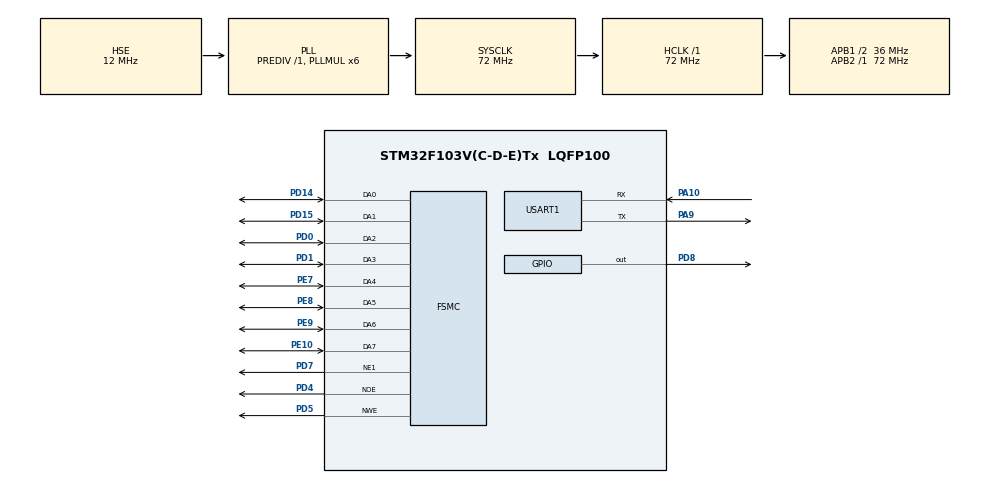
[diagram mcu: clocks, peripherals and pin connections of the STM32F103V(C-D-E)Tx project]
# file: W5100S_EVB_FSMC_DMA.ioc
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Dma.MEMTOMEM.0.Direction=DMA_MEMORY_TO_MEMORY
Dma.MEMTOMEM.0.Instance=DMA1_Channel4
Dma.MEMTOMEM.0.MemDataAlignment=DMA_MDATAALIGN_BYTE
Dma.MEMTOMEM.0.MemInc=DMA_MINC_ENABLE
Dma.MEMTOMEM.0.Mode=DMA_NORMAL
Dma.MEMTOMEM.0.PeriphDataAlignment=DMA_PDATAALIGN_BYTE
Dma.MEMTOMEM.0.PeriphInc=DMA_PINC_DISABLE
Dma.MEMTOMEM.0.Priority=DMA_PRIORITY_HIGH
Dma.MEMTOMEM.1.Direction=DMA_MEMORY_TO_MEMORY
Dma.MEMTOMEM.1.Instance=DMA1_Channel5
Dma.MEMTOMEM.1.MemDataAlignment=DMA_MDATAALIGN_BYTE
Dma.MEMTOMEM.1.MemInc=DMA_MINC_DISABLE
Dma.MEMTOMEM.1.Mode=DMA_NORMAL
Dma.MEMTOMEM.1.PeriphDataAlignment=DMA_PDATAALIGN_BYTE
Dma.MEMTOMEM.1.PeriphInc=DMA_PINC_ENABLE
Dma.MEMTOMEM.1.Priority=DMA_PRIORITY_HIGH
Dma.Request0=MEMTOMEM
Dma.Request1=MEMTOMEM
FSMC.AddressHoldTime1=0x01
FSMC.AddressSetupTime1=0x03
FSMC.BusTurnAroundDuration1=0
FSMC.DataSetupTime1=0x08
FSMC.WriteOperation1=FSMC_WRITE_OPERATION_ENABLE
Mcu.Family=STM32F1
Mcu.Name=STM32F103V(C-D-E)Tx
Mcu.Package=LQFP100
NVIC.DMA1_Channel4_IRQn=true\:0\:0\:false\:false\:true\:true\:true\:true
NVIC.DMA1_Channel5_IRQn=true\:0\:0\:false\:false\:true\:true\:true\:true
NVIC.FLASH_IRQn=true\:0\:0\:false\:false\:true\:true\:true\:true
NVIC.PriorityGroup=NVIC_PRIORITYGROUP_4
NVIC.TIM2_IRQn=true\:0\:0\:false\:false\:true\:true\:true\:true
NVIC.USART1_IRQn=true\:0\:0\:false\:false\:true\:true\:true\:true
OSC_IN.Mode=HSE-External-Oscillator
OSC_IN.Signal=RCC_OSC_IN
OSC_OUT.Mode=HSE-External-Oscillator
OSC_OUT.Signal=RCC_OSC_OUT
PA10.Mode=Asynchronous
PA10.Signal=USART1_RX
PA9.Mode=Asynchronous
PA9.Signal=USART1_TX
PB7.Signal=FSMC_NL
PD0.Mode=8b-da1
PD0.Signal=FSMC_DA2
PD1.Mode=8b-da1
PD1.Signal=FSMC_DA3
PD14.Mode=8b-da1
PD14.Signal=FSMC_DA0
PD15.Mode=8b-da1
PD15.Signal=FSMC_DA1
PD4.Mode=MuxedPsram1
PD4.Signal=FSMC_NOE
PD5.Mode=MuxedPsram1
PD5.Signal=FSMC_NWE
PD7.Mode=NorPsramChipSelect1_1
PD7.Signal=FSMC_NE1
PD8.Signal=GPIO_Output
PE10.Mode=8b-da1
PE10.Signal=FSMC_DA7
PE7.Mode=8b-da1
PE7.Signal=FSMC_DA4
PE8.Mode=8b-da1
PE8.Signal=FSMC_DA5
PE9.Mode=8b-da1
PE9.Signal=FSMC_DA6
ProjectManager.HeapSize=0x200
ProjectManager.StackSize=0x400
ProjectManager.TargetToolchain=STM32CubeIDE
RCC.AHBFreq_Value=72000000
RCC.APB1CLKDivider=RCC_HCLK_DIV2
RCC.APB1Freq_Value=36000000
RCC.APB1TimFreq_Value=72000000
RCC.APB2Freq_Value=72000000
RCC.APB2TimFreq_Value=72000000
RCC.HCLKFreq_Value=72000000
RCC.HSE_VALUE=12000000
RCC.PLLMUL=RCC_PLL_MUL6
RCC.PLLSourceVirtual=RCC_PLLSOURCE_HSE
RCC.SYSCLKFreq_VALUE=72000000
RCC.SYSCLKSource=RCC_SYSCLKSOURCE_PLLCLK
RCC.USBFreq_Value=72000000
SH.FSMC_NL.0=FSMC_NL
TIM2.AutoReloadPreload=TIM_AUTORELOAD_PRELOAD_ENABLE
TIM2.Period=6999
TIM2.Prescaler=1000
USART1.VirtualMode=VM_ASYNC
VP_TIM2_VS_ClockSourceINT.Mode=Internal
board=custom

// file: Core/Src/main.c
/* USER CODE BEGIN Header */
/**
  ******************************************************************************
  * @file           : main.c
  * @brief          : Main program body
  ******************************************************************************
  * @attention
  *
  * Copyright (c) 2022 STMicroelectronics.
  * All rights reserved.
  *
  * This software is licensed under terms that can be found in the LICENSE file
  * in the root directory of this software component.
  * If no LICENSE file comes with this software, it is provided AS-IS.
  *
  ******************************************************************************
  */
/* USER CODE END Header */
#include "main.h"

/* USER CODE BEGIN Includes */
#include <stdio.h>
#include "Application/loopback/loopback.h"
#include "socket.h"
#include "Internet/DHCP/dhcp.h"
#include "wizchip_conf.h"
#include "W5100S/w5100s.h"

/* USER CODE END Includes */

/* USER CODE BEGIN PD */

/* DMA */
#if 1
#define USE_DMA
#endif

#if 0
#define BUS_DMA_INT
#else
#define BUS_DMA_POL
#endif

/* CHIP SETTING */
#define RESET_W5100S_GPIO_Port	GPIOD
#define RESET_W5100S_Pin		GPIO_PIN_8

/* ETH */
#define ETH_MAX_BUF_SIZE		2048

#define SOCKET_DHCP 3

/* USER CODE END PD */

TIM_HandleTypeDef htim2;

UART_HandleTypeDef huart1;

DMA_HandleTypeDef hdma_memtomem_dma1_channel4;
DMA_HandleTypeDef hdma_memtomem_dma1_channel5;
SRAM_HandleTypeDef hsram1;

/* USER CODE BEGIN PV */

/* NET */
wiz_NetInfo gWIZNETINFO = {
		.mac = {0x00, 0x08, 0xdc, 0x6f, 0x00, 0x8a},
		.ip = {192, 168, 11, 109},
		.sn = {255, 255, 255, 0},
		.gw = {192, 168, 11, 1},
		.dns = {8, 8, 8, 8},
		.dhcp = NETINFO_DHCP
};

uint8_t ethBuf0[ETH_MAX_BUF_SIZE];
uint8_t ethBuf1[ETH_MAX_BUF_SIZE];
uint8_t ethBuf2[ETH_MAX_BUF_SIZE];
uint8_t ethBuf3[ETH_MAX_BUF_SIZE];

uint8_t dma_ch4_comp = 0;
uint8_t dma_ch5_comp = 0;

/* USER CODE END PV */

void SystemClock_Config(void);
static void MX_GPIO_Init(void);
static void MX_DMA_Init(void);
static void MX_USART1_UART_Init(void);
static void MX_FSMC_Init(void);
static void MX_TIM2_Init(void);
/* USER CODE BEGIN PFP */
void print_network_information();
void HAL_TIM_PeriodElapsedCallback(TIM_HandleTypeDef *htim);
static void wizchip_dhcp_assign(void);
static void wizchip_dhcp_conflict(void);
void wizchip_dhcp_init(void);

void busDmaWriteByte(uint32_t addr, iodata_t data);
iodata_t busDmaReadByte(uint32_t addr);
void busDmaWriteBurst(uint32_t addr, uint8_t* pBuf ,uint32_t len,uint8_t addr_inc);
void busDmaReadBurst(uint32_t addr,uint8_t* pBuf, uint32_t len,uint8_t addr_inc);
void XferCpltCallback_ch4(DMA_HandleTypeDef *hdma);
void XferCpltCallback_ch5(DMA_HandleTypeDef *hdma);

void wizchip_reset();
void wizchip_check(void);
void wizchip_initialize(void);

/* USER CODE END PFP */

/* USER CODE BEGIN 0 */

/* USER CODE END PFP */

/* Private user code ---------------------------------------------------------*/
/* USER CODE BEGIN 0 */

/* USER CODE END 0 */

int main(void)
{
  /* USER CODE BEGIN 1 */
  uint8_t svr_ipv4[4] = {192, 168, 177, 235};
  /* USER CODE END 1 */

  /* MCU Configuration--------------------------------------------------------*/

  /* Reset of all peripherals, Initializes the Flash interface and the Systick. */
  HAL_Init();

  /* Configure the system clock */
  SystemClock_Config();

  /* Initialize all configured peripherals */
  MX_GPIO_Init();
  MX_DMA_Init();
  MX_USART1_UART_Init();
  MX_FSMC_Init();
  MX_TIM2_Init();
  /* USER CODE BEGIN 2 */

  printf("\r\n");
  printf("===========================================================\r\n");
  printf("Compiled @ %s %s\r\n", __DATE__, __TIME__);
  printf("W5100S-EVB FSMC\r\n");
  printf("System start (%ld Hz)\r\n", HAL_RCC_GetSysClockFreq());
  printf("===========================================================\r\n");

  HAL_TIM_Base_Start_IT(&htim2);

#ifdef USE_DMA
  reg_wizchip_bus_cbfunc(busDmaReadByte, busDmaWriteByte);
  reg_wizchip_busbuf_cbfunc(busDmaReadBurst, busDmaWriteBurst);
#else
  reg_wizchip_bus_cbfunc(0, 0);
  reg_wizchip_busbuf_cbfunc(0, 0);
#endif

  wizchip_initialize();

  wizchip_setnetinfo(&gWIZNETINFO);

  printf("Network Information\r\n");
  print_network_information();

  if (gWIZNETINFO.dhcp == NETINFO_DHCP) // DHCP
  {
    printf("DHCP init()\r\n");
	  wizchip_dhcp_init();

    printf("DHCP run()\r\n");
	  while (DHCP_run() != DHCP_IP_LEASED)
	      wiz_delay_ms(1000);
  }
  else // static
  {
	  ctlnetwork(CN_SET_NETINFO, &gWIZNETINFO);
	  printf("\r\n----------STATIC Net Information--------------\r\n");
    print_network_information();
  }

  /* USER CODE END 2 */

  /* Infinite loop */
  /* USER CODE BEGIN WHILE */
  while (1)
  {
#if 1
	  loopback_udps(0, ethBuf0, 50000);
#endif

#if 0
	  loopback_tcpc(1, ethBuf1, svr_ipv4, 50001);
#endif

#if 1
	  loopback_tcps(2, ethBuf2, 50002);
#endif

	  /* Assigned IP through DHCP */
    if (gWIZNETINFO.dhcp == NETINFO_DHCP)
    {
		  DHCP_run();
    }

    /* USER CODE END WHILE */

  }
}

void SystemClock_Config(void)
{
  RCC_OscInitTypeDef RCC_OscInitStruct = {0};
  RCC_ClkInitTypeDef RCC_ClkInitStruct = {0};

  /** Initializes the RCC Oscillators according to the specified parameters
  * in the RCC_OscInitTypeDef structure.
  */
  RCC_OscInitStruct.OscillatorType = RCC_OSCILLATORTYPE_HSE;
  RCC_OscInitStruct.HSEState = RCC_HSE_ON;
  RCC_OscInitStruct.HSEPredivValue = RCC_HSE_PREDIV_DIV1;
  RCC_OscInitStruct.HSIState = RCC_HSI_ON;
  RCC_OscInitStruct.PLL.PLLState = RCC_PLL_ON;
  RCC_OscInitStruct.PLL.PLLSource = RCC_PLLSOURCE_HSE;
  RCC_OscInitStruct.PLL.PLLMUL = RCC_PLL_MUL6;
  if (HAL_RCC_OscConfig(&RCC_OscInitStruct) != HAL_OK)
  {
    Error_Handler();
  }

  /** Initializes the CPU, AHB and APB buses clocks
  */
  RCC_ClkInitStruct.ClockType = RCC_CLOCKTYPE_HCLK|RCC_CLOCKTYPE_SYSCLK
                              |RCC_CLOCKTYPE_PCLK1|RCC_CLOCKTYPE_PCLK2;
  RCC_ClkInitStruct.SYSCLKSource = RCC_SYSCLKSOURCE_PLLCLK;
  RCC_ClkInitStruct.AHBCLKDivider = RCC_SYSCLK_DIV1;
  RCC_ClkInitStruct.APB1CLKDivider = RCC_HCLK_DIV2;
  RCC_ClkInitStruct.APB2CLKDivider = RCC_HCLK_DIV1;

  if (HAL_RCC_ClockConfig(&RCC_ClkInitStruct, FLASH_LATENCY_2) != HAL_OK)
  {
    Error_Handler();
  }
}

static void MX_TIM2_Init(void)
{

  TIM_ClockConfigTypeDef sClockSourceConfig = {0};
  TIM_MasterConfigTypeDef sMasterConfig = {0};

  htim2.Instance = TIM2;
  htim2.Init.Prescaler = 1000;
  htim2.Init.CounterMode = TIM_COUNTERMODE_UP;
  htim2.Init.Period = 6999;
  htim2.Init.ClockDivision = TIM_CLOCKDIVISION_DIV1;
  htim2.Init.AutoReloadPreload = TIM_AUTORELOAD_PRELOAD_ENABLE;
  if (HAL_TIM_Base_Init(&htim2) != HAL_OK)
  {
    Error_Handler();
  }
  sClockSourceConfig.ClockSource = TIM_CLOCKSOURCE_INTERNAL;
  if (HAL_TIM_ConfigClockSource(&htim2, &sClockSourceConfig) != HAL_OK)
  {
    Error_Handler();
  }
  sMasterConfig.MasterOutputTrigger = TIM_TRGO_RESET;
  sMasterConfig.MasterSlaveMode = TIM_MASTERSLAVEMODE_DISABLE;
  if (HAL_TIMEx_MasterConfigSynchronization(&htim2, &sMasterConfig) != HAL_OK)
  {
    Error_Handler();
  }

}

static void MX_USART1_UART_Init(void)
{

  huart1.Instance = USART1;
  huart1.Init.BaudRate = 115200;
  huart1.Init.WordLength = UART_WORDLENGTH_8B;
  huart1.Init.StopBits = UART_STOPBITS_1;
  huart1.Init.Parity = UART_PARITY_NONE;
  huart1.Init.Mode = UART_MODE_TX_RX;
  huart1.Init.HwFlowCtl = UART_HWCONTROL_NONE;
  huart1.Init.OverSampling = UART_OVERSAMPLING_16;
  if (HAL_UART_Init(&huart1) != HAL_OK)
  {
    Error_Handler();
  }

}

static void MX_DMA_Init(void)
{

  /* DMA controller clock enable */
  __HAL_RCC_DMA1_CLK_ENABLE();

  /* Configure DMA request hdma_memtomem_dma1_channel4 on DMA1_Channel4 */
  hdma_memtomem_dma1_channel4.Instance = DMA1_Channel4;
  hdma_memtomem_dma1_channel4.Init.Direction = DMA_MEMORY_TO_MEMORY;
  hdma_memtomem_dma1_channel4.Init.PeriphInc = DMA_PINC_DISABLE;
  hdma_memtomem_dma1_channel4.Init.MemInc = DMA_MINC_ENABLE;
  hdma_memtomem_dma1_channel4.Init.PeriphDataAlignment = DMA_PDATAALIGN_BYTE;
  hdma_memtomem_dma1_channel4.Init.MemDataAlignment = DMA_MDATAALIGN_BYTE;
  hdma_memtomem_dma1_channel4.Init.Mode = DMA_NORMAL;
  hdma_memtomem_dma1_channel4.Init.Priority = DMA_PRIORITY_HIGH;
  if (HAL_DMA_Init(&hdma_memtomem_dma1_channel4) != HAL_OK)
  {
    Error_Handler( );
  }

  /* Configure DMA request hdma_memtomem_dma1_channel5 on DMA1_Channel5 */
  hdma_memtomem_dma1_channel5.Instance = DMA1_Channel5;
  hdma_memtomem_dma1_channel5.Init.Direction = DMA_MEMORY_TO_MEMORY;
  hdma_memtomem_dma1_channel5.Init.PeriphInc = DMA_PINC_ENABLE;
  hdma_memtomem_dma1_channel5.Init.MemInc = DMA_MINC_DISABLE;
  hdma_memtomem_dma1_channel5.Init.PeriphDataAlignment = DMA_PDATAALIGN_BYTE;
  hdma_memtomem_dma1_channel5.Init.MemDataAlignment = DMA_MDATAALIGN_BYTE;
  hdma_memtomem_dma1_channel5.Init.Mode = DMA_NORMAL;
  hdma_memtomem_dma1_channel5.Init.Priority = DMA_PRIORITY_HIGH;
  if (HAL_DMA_Init(&hdma_memtomem_dma1_channel5) != HAL_OK)
  {
    Error_Handler( );
  }

  /* DMA interrupt init */
  /* DMA1_Channel4_IRQn interrupt configuration */
  HAL_NVIC_SetPriority(DMA1_Channel4_IRQn, 0, 0);
  HAL_NVIC_EnableIRQ(DMA1_Channel4_IRQn);
  /* DMA1_Channel5_IRQn interrupt configuration */
  HAL_NVIC_SetPriority(DMA1_Channel5_IRQn, 0, 0);
  HAL_NVIC_EnableIRQ(DMA1_Channel5_IRQn);

}

static void MX_GPIO_Init(void)
{
  GPIO_InitTypeDef GPIO_InitStruct = {0};

  /* GPIO Ports Clock Enable */
  __HAL_RCC_GPIOE_CLK_ENABLE();
  __HAL_RCC_GPIOD_CLK_ENABLE();
  __HAL_RCC_GPIOA_CLK_ENABLE();
  __HAL_RCC_GPIOB_CLK_ENABLE();

  /*Configure GPIO pin Output Level */
  HAL_GPIO_WritePin(GPIOD, GPIO_PIN_8, GPIO_PIN_RESET);

  /*Configure GPIO pin : PD8 */
  GPIO_InitStruct.Pin = GPIO_PIN_8;
  GPIO_InitStruct.Mode = GPIO_MODE_OUTPUT_PP;
  GPIO_InitStruct.Pull = GPIO_NOPULL;
  GPIO_InitStruct.Speed = GPIO_SPEED_FREQ_LOW;
  HAL_GPIO_Init(GPIOD, &GPIO_InitStruct);

}

/* FSMC initialization function */
static void MX_FSMC_Init(void)
{

  FSMC_NORSRAM_TimingTypeDef Timing = {0};

  /** Perform the SRAM1 memory initialization sequence
  */
  hsram1.Instance = FSMC_NORSRAM_DEVICE;
  hsram1.Extended = FSMC_NORSRAM_EXTENDED_DEVICE;
  /* hsram1.Init */
  hsram1.Init.NSBank = FSMC_NORSRAM_BANK1;
  hsram1.Init.DataAddressMux = FSMC_DATA_ADDRESS_MUX_ENABLE;
  hsram1.Init.MemoryType = FSMC_MEMORY_TYPE_PSRAM;
  hsram1.Init.MemoryDataWidth = FSMC_NORSRAM_MEM_BUS_WIDTH_8;
  hsram1.Init.BurstAccessMode = FSMC_BURST_ACCESS_MODE_DISABLE;
  hsram1.Init.WaitSignalPolarity = FSMC_WAIT_SIGNAL_POLARITY_LOW;
  hsram1.Init.WrapMode = FSMC_WRAP_MODE_DISABLE;
  hsram1.Init.WaitSignalActive = FSMC_WAIT_TIMING_BEFORE_WS;
  hsram1.Init.WriteOperation = FSMC_WRITE_OPERATION_ENABLE;
  hsram1.Init.WaitSignal = FSMC_WAIT_SIGNAL_DISABLE;
  hsram1.Init.ExtendedMode = FSMC_EXTENDED_MODE_DISABLE;
  hsram1.Init.AsynchronousWait = FSMC_ASYNCHRONOUS_WAIT_DISABLE;
  hsram1.Init.WriteBurst = FSMC_WRITE_BURST_DISABLE;
  /* Timing */
  Timing.AddressSetupTime = 0x03;
  Timing.AddressHoldTime = 0x01;
  Timing.DataSetupTime = 0x08;
  Timing.BusTurnAroundDuration = 0;
  Timing.CLKDivision = 16;
  Timing.DataLatency = 17;
  Timing.AccessMode = FSMC_ACCESS_MODE_A;
  /* ExtTiming */

  if (HAL_SRAM_Init(&hsram1, &Timing, NULL) != HAL_OK)
  {
    Error_Handler( );
  }

  /** Disconnect NADV
  */

  __HAL_AFIO_FSMCNADV_DISCONNECTED();

  /* USER CODE BEGIN FSMC_Init 2 */
  HAL_NVIC_SetPriority(FSMC_IRQn, 0, 0);
  HAL_NVIC_EnableIRQ(FSMC_IRQn);
  /* USER CODE END FSMC_Init 2 */
}

/* USER CODE BEGIN 4 */

/* UART */
int _write(int fd, char *str, int len)
{
	for(int i=0; i<len; i++)
	{
		HAL_UART_Transmit(&huart1, (uint8_t *)&str[i], 1, 0xFFFF);
	}
	return len;
}

void print_network_information(void)
{
	wizchip_getnetinfo(&gWIZNETINFO);

	printf("Mac address: %02x:%02x:%02x:%02x:%02x:%02x\r\n",gWIZNETINFO.mac[0],gWIZNETINFO.mac[1],gWIZNETINFO.mac[2],gWIZNETINFO.mac[3],gWIZNETINFO.mac[4],gWIZNETINFO.mac[5]);
	printf("IP address : %d.%d.%d.%d\r\n",gWIZNETINFO.ip[0],gWIZNETINFO.ip[1],gWIZNETINFO.ip[2],gWIZNETINFO.ip[3]);
	printf("SM Mask	   : %d.%d.%d.%d\r\n",gWIZNETINFO.sn[0],gWIZNETINFO.sn[1],gWIZNETINFO.sn[2],gWIZNETINFO.sn[3]);
	printf("Gate way   : %d.%d.%d.%d\r\n",gWIZNETINFO.gw[0],gWIZNETINFO.gw[1],gWIZNETINFO.gw[2],gWIZNETINFO.gw[3]);
	printf("DNS Server : %d.%d.%d.%d\r\n",gWIZNETINFO.dns[0],gWIZNETINFO.dns[1],gWIZNETINFO.dns[2],gWIZNETINFO.dns[3]);
}

void HAL_TIM_PeriodElapsedCallback(TIM_HandleTypeDef *htim)
{
	DHCP_time_handler();
}

/* DHCP */
static void wizchip_dhcp_assign(void)
{
    getIPfromDHCP(gWIZNETINFO.ip);
    getGWfromDHCP(gWIZNETINFO.gw);
    getSNfromDHCP(gWIZNETINFO.sn);
    getDNSfromDHCP(gWIZNETINFO.dns);
    gWIZNETINFO.dhcp = NETINFO_DHCP;

    ctlnetwork(CN_SET_NETINFO, &gWIZNETINFO);
    printf("\r\n----------DHCP Net Information--------------\r\n");
    print_network_information();
}

static void wizchip_dhcp_conflict(void)
{
	printf("wizchip_dhcp_conflict\r\n");
}

void wizchip_dhcp_init(void)
{
    DHCP_init(SOCKET_DHCP, ethBuf3);
    reg_dhcp_cbfunc(wizchip_dhcp_assign, wizchip_dhcp_assign, wizchip_dhcp_conflict);
}

#ifdef USE_DMA
/* BUS_DMA */

void busDmaWriteByte(uint32_t addr, iodata_t data)
{
#ifdef BUS_DMA_INT
	hdma_memtomem_dma1_channel4.XferCpltCallback = &XferCpltCallback_ch4;
	HAL_DMA_Start_IT(&hdma_memtomem_dma1_channel4, &data, (uint32_t)addr, 1);
	while(dma_ch4_comp != 1);
	dma_ch4_comp = 0;
#elif defined BUS_DMA_POL
	HAL_DMA_Start(&hdma_memtomem_dma1_channel4, (uint32_t)&data, (uint32_t)addr, 1);
	HAL_StatusTypeDef status;
	status = HAL_DMA_PollForTransfer(&hdma_memtomem_dma1_channel4, HAL_DMA_FULL_TRANSFER, 100);
	if(status != HAL_OK)
	{
		printf("status = %d\r\n", status);
	}
#endif
}

iodata_t busDmaReadByte(uint32_t addr)
{
	iodata_t ret;

#ifdef BUS_DMA_INT
	hdma_memtomem_dma1_channel5.XferCpltCallback = &XferCpltCallback_ch5;
	HAL_DMA_Start_IT(&hdma_memtomem_dma1_channel5, (uint32_t)addr, &ret, 1);
	while(dma_ch5_comp != 1);
	dma_ch5_comp = 0;
#elif defined BUS_DMA_POL
	HAL_DMA_Start(&hdma_memtomem_dma1_channel5, (uint32_t)addr, (uint32_t)&ret, 1);
	HAL_StatusTypeDef status;
	status = HAL_DMA_PollForTransfer(&hdma_memtomem_dma1_channel5, HAL_DMA_FULL_TRANSFER, 100);
	if(status != HAL_OK)
	{
		printf("status = %d\r\n", status);
	}
#endif
	return ret;
}

void busDmaWriteBurst(uint32_t addr, uint8_t* pBuf ,uint32_t len,uint8_t addr_inc)
{
	HAL_DMA_DeInit(&hdma_memtomem_dma1_channel4);

	hdma_memtomem_dma1_channel4.Init.PeriphInc = DMA_PINC_ENABLE;

	if(addr_inc)
	{
		hdma_memtomem_dma1_channel4.Init.MemInc = DMA_MINC_ENABLE;
	}
	else
	{
		hdma_memtomem_dma1_channel4.Init.MemInc = DMA_MINC_DISABLE;
	}

	hdma_memtomem_dma1_channel4.Instance = DMA1_Channel4;
	hdma_memtomem_dma1_channel4.Init.Direction = DMA_MEMORY_TO_MEMORY;
	//hdma_memtomem_dma1_channel4.Init.PeriphInc = DMA_PINC_DISABLE;
	//hdma_memtomem_dma1_channel4.Init.MemInc = DMA_MINC_ENABLE;
	hdma_memtomem_dma1_channel4.Init.PeriphDataAlignment = DMA_PDATAALIGN_BYTE;
	hdma_memtomem_dma1_channel4.Init.MemDataAlignment = DMA_MDATAALIGN_BYTE;
	hdma_memtomem_dma1_channel4.Init.Mode = DMA_NORMAL;
	hdma_memtomem_dma1_channel4.Init.Priority = DMA_PRIORITY_HIGH;

#ifdef BUS_DMA_INT
	hdma_memtomem_dma1_channel4.XferCpltCallback = &XferCpltCallback_ch4;
#endif

	if (HAL_DMA_Init(&hdma_memtomem_dma1_channel4) != HAL_OK)
	{
		Error_Handler( );
	}

	while (HAL_DMA_GetState(&hdma_memtomem_dma1_channel4) != HAL_DMA_STATE_READY);
#ifdef BUS_DMA_POL
	HAL_DMA_Start(&hdma_memtomem_dma1_channel4, (uint32_t)pBuf, (uint32_t)addr, len);
	HAL_StatusTypeDef status;
	status = HAL_DMA_PollForTransfer(&hdma_memtomem_dma1_channel4, HAL_DMA_FULL_TRANSFER, 100);
	if(status != HAL_OK)
	{
		printf("status = %d\r\n", status);
	}
#elif defined BUS_DMA_INT
	HAL_DMA_Start_IT(&hdma_memtomem_dma1_channel4, pBuf, (uint32_t)addr, len);
	while(dma_ch4_comp != 1);
	dma_ch4_comp = 0;
#endif
}

void busDmaReadBurst(uint32_t addr,uint8_t* pBuf, uint32_t len,uint8_t addr_inc)
{
	HAL_DMA_DeInit(&hdma_memtomem_dma1_channel5);

	hdma_memtomem_dma1_channel5.Instance = DMA1_Channel5;
	hdma_memtomem_dma1_channel5.Init.Direction = DMA_MEMORY_TO_MEMORY;
	hdma_memtomem_dma1_channel5.Init.PeriphInc = DMA_PINC_DISABLE;
	hdma_memtomem_dma1_channel5.Init.MemInc = DMA_MINC_ENABLE;
	hdma_memtomem_dma1_channel5.Init.PeriphDataAlignment = DMA_PDATAALIGN_BYTE;
	hdma_memtomem_dma1_channel5.Init.MemDataAlignment = DMA_MDATAALIGN_BYTE;
	hdma_memtomem_dma1_channel5.Init.Mode = DMA_NORMAL;
	hdma_memtomem_dma1_channel5.Init.Priority = DMA_PRIORITY_HIGH;

#ifdef BUS_DMA_INT
	hdma_memtomem_dma1_channel5.XferCpltCallback = &XferCpltCallback_ch5;
#endif

	if (HAL_DMA_Init(&hdma_memtomem_dma1_channel5) != HAL_OK)
	{
		Error_Handler( );
	}

	while (HAL_DMA_GetState(&hdma_memtomem_dma1_channel5) != HAL_DMA_STATE_READY);
#ifdef BUS_DMA_POL
	HAL_DMA_Start(&hdma_memtomem_dma1_channel5, (uint32_t)addr, (uint32_t)pBuf, len);
	HAL_StatusTypeDef status;
	status = HAL_DMA_PollForTransfer(&hdma_memtomem_dma1_channel5, HAL_DMA_FULL_TRANSFER, 100);
	if(status != HAL_OK)
	{
		printf("status = %d\r\n", status);
	}
#elif defined BUS_DMA_INT
	HAL_DMA_Start_IT(&hdma_memtomem_dma1_channel5, (uint32_t)addr, pBuf, len);
	while(dma_ch5_comp != 1);
	dma_ch5_comp = 0;
#endif
}

void XferCpltCallback_ch4(DMA_HandleTypeDef *hdma)
{
	dma_ch4_comp = 1;
}

void XferCpltCallback_ch5(DMA_HandleTypeDef *hdma)
{
	dma_ch5_comp = 1;
}
#endif

/* CHIP INIT */
void wizchip_reset()
{
	HAL_GPIO_WritePin(RESET_W5100S_GPIO_Port, RESET_W5100S_Pin, GPIO_PIN_RESET);
	HAL_Delay(10);
	HAL_GPIO_WritePin(RESET_W5100S_GPIO_Port, RESET_W5100S_Pin, GPIO_PIN_SET);
	HAL_Delay(100);
}

void wizchip_check(void)
{
    if (getVER() != 0x51) // W5100S
    {
        printf(" ACCESS ERR : VERSIONR != 0x51, read value = 0x%02x\n", getVER());
        while (1);
    }
}

void wizchip_initialize(void)
{
	uint8_t W5100S_AdrSet[2][4] = {{2,2,2,2},{2,2,2,2}};
	uint8_t tmp1, tmp2;
	intr_kind temp= IK_DEST_UNREACH;

	wizchip_reset();
	if(ctlwizchip(CW_INIT_WIZCHIP,(void*)W5100S_AdrSet) == -1)
		printf(">>>>W5100s memory initialization failed\r\n");

	if(ctlwizchip(CW_SET_INTRMASK,&temp) == -1)
		printf("W5100S interrupt\r\n");

	wizchip_check();
  while(1)
	{
		ctlwizchip(CW_GET_PHYLINK, &tmp1 );
		ctlwizchip(CW_GET_PHYLINK, &tmp2 );
		if(tmp1==PHY_LINK_ON && tmp2==PHY_LINK_ON) break;
	}
}

/* USER CODE END 4 */

void Error_Handler(void)
{
  __disable_irq();
  while (1)
  {
  }
}
